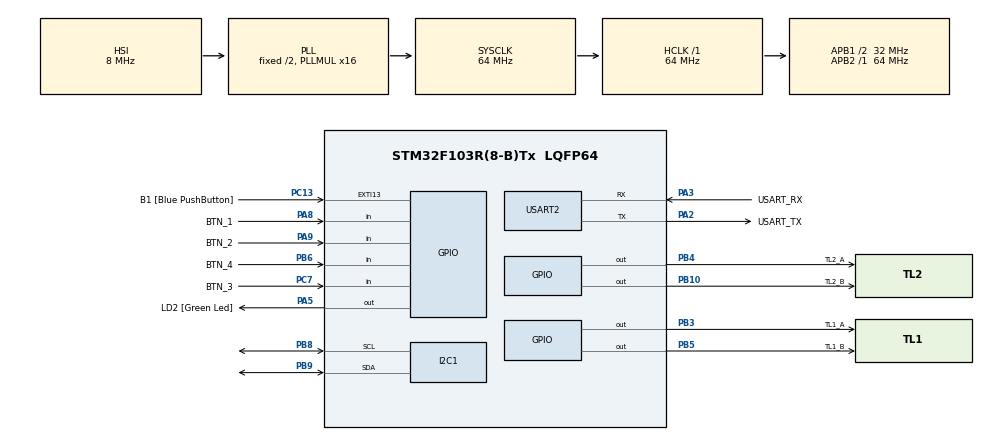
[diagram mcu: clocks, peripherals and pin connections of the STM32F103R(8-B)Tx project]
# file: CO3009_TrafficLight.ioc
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Mcu.Family=STM32F1
Mcu.Name=STM32F103R(8-B)Tx
Mcu.Package=LQFP64
NVIC.EXTI15_10_IRQn=true\:0\:0\:false\:false\:true\:true\:true
NVIC.PriorityGroup=NVIC_PRIORITYGROUP_4
NVIC.TIM2_IRQn=true\:0\:0\:false\:false\:true\:true\:true
PA13.GPIO_Label=TMS
PA13.Mode=Serial_Wire
PA13.Signal=SYS_JTMS-SWDIO
PA14.GPIO_Label=TCK
PA14.Mode=Serial_Wire
PA14.Signal=SYS_JTCK-SWCLK
PA2.GPIO_Label=USART_TX
PA2.GPIO_Mode=GPIO_MODE_AF_PP
PA2.GPIO_PuPd=GPIO_NOPULL
PA2.GPIO_Speed=GPIO_SPEED_FREQ_LOW
PA2.Mode=Asynchronous
PA2.Signal=USART2_TX
PA3.GPIO_Label=USART_RX
PA3.GPIO_Mode=GPIO_MODE_AF_PP
PA3.GPIO_PuPd=GPIO_NOPULL
PA3.GPIO_Speed=GPIO_SPEED_FREQ_LOW
PA3.Mode=Asynchronous
PA3.Signal=USART2_RX
PA5.GPIO_Label=LD2 [Green Led]
PA5.GPIO_ModeDefaultOutputPP=GPIO_MODE_OUTPUT_PP
PA5.GPIO_PuPd=GPIO_NOPULL
PA5.GPIO_Speed=GPIO_SPEED_FREQ_LOW
PA5.Signal=GPIO_Output
PA8.GPIO_Label=BTN_1
PA8.GPIO_PuPd=GPIO_PULLUP
PA8.Signal=GPIO_Input
PA9.GPIO_Label=BTN_2
PA9.GPIO_PuPd=GPIO_PULLUP
PA9.Signal=GPIO_Input
PB10.GPIO_Label=TL2_B
PB10.Signal=GPIO_Output
PB3.GPIO_Label=TL1_A
PB3.Signal=GPIO_Output
PB4.GPIO_Label=TL2_A
PB4.Signal=GPIO_Output
PB5.GPIO_Label=TL1_B
PB5.Signal=GPIO_Output
PB6.GPIO_Label=BTN_4
PB6.GPIO_PuPd=GPIO_PULLUP
PB6.Signal=GPIO_Input
PB8.Mode=I2C
PB8.Signal=I2C1_SCL
PB9.Mode=I2C
PB9.Signal=I2C1_SDA
PC13-TAMPER-RTC.GPIO_Label=B1 [Blue PushButton]
PC13-TAMPER-RTC.GPIO_PuPd=GPIO_NOPULL
PC13-TAMPER-RTC.Signal=GPXTI13
PC14-OSC32_IN.Mode=LSE-External-Oscillator
PC14-OSC32_IN.Signal=RCC_OSC32_IN
PC15-OSC32_OUT.Mode=LSE-External-Oscillator
PC15-OSC32_OUT.Signal=RCC_OSC32_OUT
PC7.GPIO_Label=BTN_3
PC7.GPIO_PuPd=GPIO_PULLUP
PC7.Signal=GPIO_Input
PD0-OSC_IN.Mode=HSE-External-Clock-Source
PD0-OSC_IN.Signal=RCC_OSC_IN
PD1-OSC_OUT.Mode=HSE-External-Clock-Source
PD1-OSC_OUT.Signal=RCC_OSC_OUT
ProjectManager.HeapSize=0x200
ProjectManager.StackSize=0x400
ProjectManager.TargetToolchain=STM32CubeIDE
RCC.AHBFreq_Value=64000000
RCC.APB1CLKDivider=RCC_HCLK_DIV2
RCC.APB1Freq_Value=32000000
RCC.APB1TimFreq_Value=64000000
RCC.APB2Freq_Value=64000000
RCC.APB2TimFreq_Value=64000000
RCC.HCLKFreq_Value=64000000
RCC.PLLMUL=RCC_PLL_MUL16
RCC.RTCClockSelection=RCC_RTCCLKSOURCE_LSE
RCC.SYSCLKFreq_VALUE=64000000
RCC.SYSCLKSource=RCC_SYSCLKSOURCE_PLLCLK
RCC.USBFreq_Value=64000000
TIM2.Period=99
TIM2.Prescaler=6399
USART2.VirtualMode=VM_ASYNC
VP_TIM2_VS_ClockSourceINT.Mode=Internal
board=NUCLEO-F103RB

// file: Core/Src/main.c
/* USER CODE BEGIN Header */
/**
  ******************************************************************************
  * @file           : main.c
  * @brief          : Main program body
  ******************************************************************************
  * @attention
  *
  * <h2><center>&copy; Copyright (c) 2026 STMicroelectronics.
  * All rights reserved.</center></h2>
  *
  * This software component is licensed by ST under BSD 3-Clause license,
  * the "License"; You may not use this file except in compliance with the
  * License. You may obtain a copy of the License at:
  *                        opensource.org/licenses/BSD-3-Clause
  *
  ******************************************************************************
  */
/* USER CODE END Header */
#include "main.h"

/* USER CODE BEGIN Includes */
#include "test_functions.h"
#include "scheduler.h"
#include "global.h"
#include "software_timer.h"
#include "button.h"
#include "traffic_light.h"
#include "dht20.h"
#include "lcd.h"
#include "fsm_automatic.h"
#include "fsm_manual.h"
#include "fsm_tuning.h"
/* USER CODE END Includes */

I2C_HandleTypeDef hi2c1;

TIM_HandleTypeDef htim2;

UART_HandleTypeDef huart2;

void SystemClock_Config(void);
static void MX_GPIO_Init(void);
static void MX_USART2_UART_Init(void);
static void MX_TIM2_Init(void);
static void MX_I2C1_Init(void);

int main(void)
{

  /* MCU Configuration--------------------------------------------------------*/

  /* Reset of all peripherals, Initializes the Flash interface and the Systick. */
  HAL_Init();

  /* Configure the system clock */
  SystemClock_Config();

  /* Initialize all configured peripherals */
  MX_GPIO_Init();
  MX_USART2_UART_Init();
  MX_TIM2_Init();
  MX_I2C1_Init();
  /* USER CODE BEGIN 2 */
//  test_i2c();
	SCH_Init();
	button_init();
	traffic_init();
	dht20_init();
	lcd_init();
	fsm_automatic_init();
	fsm_manual_init();
	fsm_tuning_init();
	SCH_Add_Task(button_read, 0, 1);
	SCH_Add_Task(timer_run, 0, 1);
	SCH_Add_Task(fsm_automatic_run, 0, 5);
	SCH_Add_Task(fsm_manual_run, 0, 5);
	SCH_Add_Task(fsm_tuning_run, 0, 5);
	SCH_Add_Task(lcd_display_task, 0, 20);
	SCH_Add_Task(dht20_task, 0, 100);
	HAL_TIM_Base_Start_IT(&htim2);
	void one_shot_task(void)
	{
	    HAL_GPIO_TogglePin(LD2_GPIO_Port, LD2_Pin);
	}
	SCH_Add_Task(one_shot_task, 300, 0);
  /* USER CODE END 2 */

  /* Infinite loop */
  /* USER CODE BEGIN WHILE */

  while (1)
  {
	  // test_blink();
	  //test_signal_combinations();
	  // test_buttons();
	  SCH_Dispatch_Tasks();
	  // test_i2c();
    /* USER CODE END WHILE */

  }
}

void SystemClock_Config(void)
{
  RCC_OscInitTypeDef RCC_OscInitStruct = {0};
  RCC_ClkInitTypeDef RCC_ClkInitStruct = {0};

  /** Initializes the RCC Oscillators according to the specified parameters
  * in the RCC_OscInitTypeDef structure.
  */
  RCC_OscInitStruct.OscillatorType = RCC_OSCILLATORTYPE_HSI;
  RCC_OscInitStruct.HSIState = RCC_HSI_ON;
  RCC_OscInitStruct.HSICalibrationValue = RCC_HSICALIBRATION_DEFAULT;
  RCC_OscInitStruct.PLL.PLLState = RCC_PLL_ON;
  RCC_OscInitStruct.PLL.PLLSource = RCC_PLLSOURCE_HSI_DIV2;
  RCC_OscInitStruct.PLL.PLLMUL = RCC_PLL_MUL16;
  if (HAL_RCC_OscConfig(&RCC_OscInitStruct) != HAL_OK)
  {
    Error_Handler();
  }
  /** Initializes the CPU, AHB and APB buses clocks
  */
  RCC_ClkInitStruct.ClockType = RCC_CLOCKTYPE_HCLK|RCC_CLOCKTYPE_SYSCLK
                              |RCC_CLOCKTYPE_PCLK1|RCC_CLOCKTYPE_PCLK2;
  RCC_ClkInitStruct.SYSCLKSource = RCC_SYSCLKSOURCE_PLLCLK;
  RCC_ClkInitStruct.AHBCLKDivider = RCC_SYSCLK_DIV1;
  RCC_ClkInitStruct.APB1CLKDivider = RCC_HCLK_DIV2;
  RCC_ClkInitStruct.APB2CLKDivider = RCC_HCLK_DIV1;

  if (HAL_RCC_ClockConfig(&RCC_ClkInitStruct, FLASH_LATENCY_2) != HAL_OK)
  {
    Error_Handler();
  }
}

static void MX_I2C1_Init(void)
{

  hi2c1.Instance = I2C1;
  hi2c1.Init.ClockSpeed = 100000;
  hi2c1.Init.DutyCycle = I2C_DUTYCYCLE_2;
  hi2c1.Init.OwnAddress1 = 0;
  hi2c1.Init.AddressingMode = I2C_ADDRESSINGMODE_7BIT;
  hi2c1.Init.DualAddressMode = I2C_DUALADDRESS_DISABLE;
  hi2c1.Init.OwnAddress2 = 0;
  hi2c1.Init.GeneralCallMode = I2C_GENERALCALL_DISABLE;
  hi2c1.Init.NoStretchMode = I2C_NOSTRETCH_DISABLE;
  if (HAL_I2C_Init(&hi2c1) != HAL_OK)
  {
    Error_Handler();
  }

}

static void MX_TIM2_Init(void)
{

  TIM_ClockConfigTypeDef sClockSourceConfig = {0};
  TIM_MasterConfigTypeDef sMasterConfig = {0};

  htim2.Instance = TIM2;
  htim2.Init.Prescaler = 6399;
  htim2.Init.CounterMode = TIM_COUNTERMODE_UP;
  htim2.Init.Period = 99;
  htim2.Init.ClockDivision = TIM_CLOCKDIVISION_DIV1;
  htim2.Init.AutoReloadPreload = TIM_AUTORELOAD_PRELOAD_DISABLE;
  if (HAL_TIM_Base_Init(&htim2) != HAL_OK)
  {
    Error_Handler();
  }
  sClockSourceConfig.ClockSource = TIM_CLOCKSOURCE_INTERNAL;
  if (HAL_TIM_ConfigClockSource(&htim2, &sClockSourceConfig) != HAL_OK)
  {
    Error_Handler();
  }
  sMasterConfig.MasterOutputTrigger = TIM_TRGO_RESET;
  sMasterConfig.MasterSlaveMode = TIM_MASTERSLAVEMODE_DISABLE;
  if (HAL_TIMEx_MasterConfigSynchronization(&htim2, &sMasterConfig) != HAL_OK)
  {
    Error_Handler();
  }

}

static void MX_USART2_UART_Init(void)
{

  huart2.Instance = USART2;
  huart2.Init.BaudRate = 115200;
  huart2.Init.WordLength = UART_WORDLENGTH_8B;
  huart2.Init.StopBits = UART_STOPBITS_1;
  huart2.Init.Parity = UART_PARITY_NONE;
  huart2.Init.Mode = UART_MODE_TX_RX;
  huart2.Init.HwFlowCtl = UART_HWCONTROL_NONE;
  huart2.Init.OverSampling = UART_OVERSAMPLING_16;
  if (HAL_UART_Init(&huart2) != HAL_OK)
  {
    Error_Handler();
  }

}

static void MX_GPIO_Init(void)
{
  GPIO_InitTypeDef GPIO_InitStruct = {0};

  /* GPIO Ports Clock Enable */
  __HAL_RCC_GPIOC_CLK_ENABLE();
  __HAL_RCC_GPIOD_CLK_ENABLE();
  __HAL_RCC_GPIOA_CLK_ENABLE();
  __HAL_RCC_GPIOB_CLK_ENABLE();

  /*Configure GPIO pin Output Level */
  HAL_GPIO_WritePin(LD2_GPIO_Port, LD2_Pin, GPIO_PIN_RESET);

  /*Configure GPIO pin Output Level */
  HAL_GPIO_WritePin(GPIOB, TL2_B_Pin|TL1_A_Pin|TL2_A_Pin|TL1_B_Pin, GPIO_PIN_RESET);

  /*Configure GPIO pin : B1_Pin */
  GPIO_InitStruct.Pin = B1_Pin;
  GPIO_InitStruct.Mode = GPIO_MODE_IT_RISING;
  GPIO_InitStruct.Pull = GPIO_NOPULL;
  HAL_GPIO_Init(B1_GPIO_Port, &GPIO_InitStruct);

  /*Configure GPIO pin : LD2_Pin */
  GPIO_InitStruct.Pin = LD2_Pin;
  GPIO_InitStruct.Mode = GPIO_MODE_OUTPUT_PP;
  GPIO_InitStruct.Pull = GPIO_NOPULL;
  GPIO_InitStruct.Speed = GPIO_SPEED_FREQ_LOW;
  HAL_GPIO_Init(LD2_GPIO_Port, &GPIO_InitStruct);

  /*Configure GPIO pins : TL2_B_Pin TL1_A_Pin TL2_A_Pin TL1_B_Pin */
  GPIO_InitStruct.Pin = TL2_B_Pin|TL1_A_Pin|TL2_A_Pin|TL1_B_Pin;
  GPIO_InitStruct.Mode = GPIO_MODE_OUTPUT_PP;
  GPIO_InitStruct.Pull = GPIO_NOPULL;
  GPIO_InitStruct.Speed = GPIO_SPEED_FREQ_LOW;
  HAL_GPIO_Init(GPIOB, &GPIO_InitStruct);

  /*Configure GPIO pin : BTN_3_Pin */
  GPIO_InitStruct.Pin = BTN_3_Pin;
  GPIO_InitStruct.Mode = GPIO_MODE_INPUT;
  GPIO_InitStruct.Pull = GPIO_NOPULL;
  HAL_GPIO_Init(BTN_3_GPIO_Port, &GPIO_InitStruct);

  /*Configure GPIO pins : BTN_1_Pin BTN_2_Pin */
  GPIO_InitStruct.Pin = BTN_1_Pin|BTN_2_Pin;
  GPIO_InitStruct.Mode = GPIO_MODE_INPUT;
  GPIO_InitStruct.Pull = GPIO_NOPULL;
  HAL_GPIO_Init(GPIOA, &GPIO_InitStruct);

  /*Configure GPIO pin : BTN_4_Pin */
  GPIO_InitStruct.Pin = BTN_4_Pin;
  GPIO_InitStruct.Mode = GPIO_MODE_INPUT;
  GPIO_InitStruct.Pull = GPIO_NOPULL;
  HAL_GPIO_Init(BTN_4_GPIO_Port, &GPIO_InitStruct);

  /* EXTI interrupt init*/
  HAL_NVIC_SetPriority(EXTI15_10_IRQn, 0, 0);
  HAL_NVIC_EnableIRQ(EXTI15_10_IRQn);

}

/* USER CODE BEGIN 4 */
void HAL_TIM_PeriodElapsedCallback(TIM_HandleTypeDef *htim)
{
    if (htim->Instance == TIM2)
    {
        SCH_Update();
    }
}
/* USER CODE END 4 */

void Error_Handler(void)
{
  __disable_irq();
  while (1)
  {
  }
}

/************************ (C) COPYRIGHT STMicroelectronics *****END OF FILE****/
